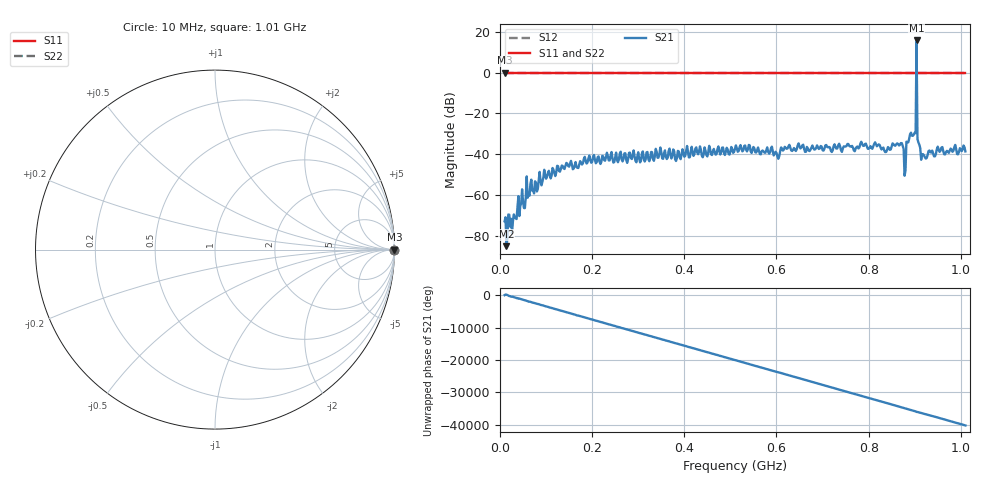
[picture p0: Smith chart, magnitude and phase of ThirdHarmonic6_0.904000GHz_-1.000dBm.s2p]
! 8/16/2025 5:38:12 AM
! C:\ANRITSUVNA\TEMP\TEMP.S2P
! CHANNEL.1
! TR.MEASUREMENT
! RAW.DATA
! RF.CORRECTION.OFF
! AVERAGING.OFF
! IF.BANDWIDTH: 5KHZ
! SWEEPTYPE:  FREQ.SWEEP(Linear)
! Reference Plane Port Info
! PORT:  PORT1  PORT2
! DISTANCE:  0  m  0  m
! TIME:  0  s  0  s
! PHASE.OFFSET:  0  deg.  0  deg.
! LOSS:  0  dB  0  dB
! REF.LOSS:  0  dB  0  dB
! REF.FREQ:  0  Hz  0  Hz
! Power Info
! POWER:  -20  dBm  -20  dBm
! EFF.POWER:  -20  dBm  -20  dBm
! SOURCE.ATTEN:  0  dB  0  dB
! TEST.ATTEN:  0  dB  0  dB
# GHZ S RI R 50.0
! FREQ.GHZ  S11RE  S11IM  S21RE  S21IM  S12RE  S12IM  S22RE  S22IM
!; PortSelection: Port_12
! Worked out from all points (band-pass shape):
!   501 points, 10 MHz to 1.01 GHz, reference 50 ohm
!   highest |S21| = 15.73 dB at 904 MHz (marker M1); lowest = -85.0 dB at 14 MHz (marker M2)
!   |S21| within 3 dB of the highest: 903.8677 MHz to 904.1242 MHz (256.5 kHz wide, 0.0284 % of centre)
!   lowest |S11| = 0.0 dB at 10 MHz (marker M3)
!   |S11| at or under -10 dB: nowhere
!   |S22| runs from 0.0 to 0.0 dB; largest |S21 - S12| = 5.2
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0.01  1 0  0.000205 -0.000104  1 0  1 0
0.014  1 0  -1.15e-05 5.52e-05  1 0  1 0
0.03  1 0  0.000174 0.000289  1 0  1 0
0.062  1 0  -0.000667 0.000856  1 0  1 0
0.1  1 0  -0.000508 0.00247  1 0  1 0
0.178  1 0  -0.00558 -0.000686  1 0  1 0
0.344  1 0  0.00785 -0.00276  1 0  1 0
0.51  1 0  -0.0127 0.00547  1 0  1 0
0.602  1 0  0.0072 0.00519  1 0  1 0
0.678  1 0  -0.0104 -0.0128  1 0  1 0
0.844  1 0  0.0126 0.00646  1 0  1 0
0.87  1 0  0.00889 0.0166  1 0  1 0
0.878  1 0  -0.00139 0.00265  1 0  1 0
0.882  1 0  0.0113 -0.0169  1 0  1 0
0.886  1 0  -0.0168 0.0102  1 0  1 0
0.898  1 0  0.0304 -0.00205  1 0  1 0
0.9  1 0  -0.00271 -0.0336  1 0  1 0
0.904  1 0  5.674 2.284  1 0  1 0
0.908  1 0  0.00304 -0.0192  1 0  1 0
0.91  1 0  -0.0168 -0.00419  1 0  1 0
0.924  1 0  0.00734 0.00281  1 0  1 0
1.01  1 0  -0.0116 0.00188  1 0  1 0
